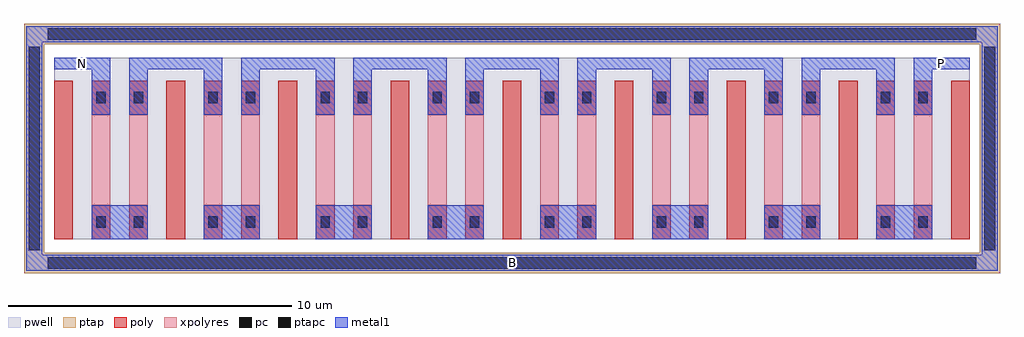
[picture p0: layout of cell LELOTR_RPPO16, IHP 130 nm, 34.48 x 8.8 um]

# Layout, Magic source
magic
tech ihp-sg13g2
magscale 1 2
<< metal1 >>
rect 16 16 6880 128
rect 128 16 6768 128
rect 16 16 6880 128
rect 128 1632 6768 1744
rect 16 1632 6880 1744
rect 16 128 128 1632
rect 16 16 128 1744
rect 6768 128 6880 1632
rect 6768 16 6880 1744
rect 16 16 6880 128
rect 6286 1440 6682 1520
rect 214 1440 610 1520
<< ptapc >>
rect 168 32 248 112
rect 248 32 328 112
rect 328 32 408 112
rect 408 32 488 112
rect 488 32 568 112
rect 568 32 648 112
rect 648 32 728 112
rect 728 32 808 112
rect 808 32 888 112
rect 888 32 968 112
rect 968 32 1048 112
rect 1048 32 1128 112
rect 1128 32 1208 112
rect 1208 32 1288 112
rect 1288 32 1368 112
rect 1368 32 1448 112
rect 1448 32 1528 112
rect 1528 32 1608 112
rect 1608 32 1688 112
rect 1688 32 1768 112
rect 1768 32 1848 112
rect 1848 32 1928 112
rect 1928 32 2008 112
rect 2008 32 2088 112
rect 2088 32 2168 112
rect 2168 32 2248 112
rect 2248 32 2328 112
rect 2328 32 2408 112
rect 2408 32 2488 112
rect 2488 32 2568 112
rect 2568 32 2648 112
rect 2648 32 2728 112
rect 2728 32 2808 112
rect 2808 32 2888 112
rect 2888 32 2968 112
rect 2968 32 3048 112
rect 3048 32 3128 112
rect 3128 32 3208 112
rect 3208 32 3288 112
rect 3288 32 3368 112
rect 3368 32 3448 112
rect 3448 32 3528 112
rect 3528 32 3608 112
rect 3608 32 3688 112
rect 3688 32 3768 112
rect 3768 32 3848 112
rect 3848 32 3928 112
rect 3928 32 4008 112
rect 4008 32 4088 112
rect 4088 32 4168 112
rect 4168 32 4248 112
rect 4248 32 4328 112
rect 4328 32 4408 112
rect 4408 32 4488 112
rect 4488 32 4568 112
rect 4568 32 4648 112
rect 4648 32 4728 112
rect 4728 32 4808 112
rect 4808 32 4888 112
rect 4888 32 4968 112
rect 4968 32 5048 112
rect 5048 32 5128 112
rect 5128 32 5208 112
rect 5208 32 5288 112
rect 5288 32 5368 112
rect 5368 32 5448 112
rect 5448 32 5528 112
rect 5528 32 5608 112
rect 5608 32 5688 112
rect 5688 32 5768 112
rect 5768 32 5848 112
rect 5848 32 5928 112
rect 5928 32 6008 112
rect 6008 32 6088 112
rect 6088 32 6168 112
rect 6168 32 6248 112
rect 6248 32 6328 112
rect 6328 32 6408 112
rect 6408 32 6488 112
rect 6488 32 6568 112
rect 6568 32 6648 112
rect 6648 32 6728 112
rect 168 1648 248 1728
rect 248 1648 328 1728
rect 328 1648 408 1728
rect 408 1648 488 1728
rect 488 1648 568 1728
rect 568 1648 648 1728
rect 648 1648 728 1728
rect 728 1648 808 1728
rect 808 1648 888 1728
rect 888 1648 968 1728
rect 968 1648 1048 1728
rect 1048 1648 1128 1728
rect 1128 1648 1208 1728
rect 1208 1648 1288 1728
rect 1288 1648 1368 1728
rect 1368 1648 1448 1728
rect 1448 1648 1528 1728
rect 1528 1648 1608 1728
rect 1608 1648 1688 1728
rect 1688 1648 1768 1728
rect 1768 1648 1848 1728
rect 1848 1648 1928 1728
rect 1928 1648 2008 1728
rect 2008 1648 2088 1728
rect 2088 1648 2168 1728
rect 2168 1648 2248 1728
rect 2248 1648 2328 1728
rect 2328 1648 2408 1728
rect 2408 1648 2488 1728
rect 2488 1648 2568 1728
rect 2568 1648 2648 1728
rect 2648 1648 2728 1728
rect 2728 1648 2808 1728
rect 2808 1648 2888 1728
rect 2888 1648 2968 1728
rect 2968 1648 3048 1728
rect 3048 1648 3128 1728
rect 3128 1648 3208 1728
rect 3208 1648 3288 1728
rect 3288 1648 3368 1728
rect 3368 1648 3448 1728
rect 3448 1648 3528 1728
rect 3528 1648 3608 1728
rect 3608 1648 3688 1728
rect 3688 1648 3768 1728
rect 3768 1648 3848 1728
rect 3848 1648 3928 1728
rect 3928 1648 4008 1728
rect 4008 1648 4088 1728
rect 4088 1648 4168 1728
rect 4168 1648 4248 1728
rect 4248 1648 4328 1728
rect 4328 1648 4408 1728
rect 4408 1648 4488 1728
rect 4488 1648 4568 1728
rect 4568 1648 4648 1728
rect 4648 1648 4728 1728
rect 4728 1648 4808 1728
rect 4808 1648 4888 1728
rect 4888 1648 4968 1728
rect 4968 1648 5048 1728
rect 5048 1648 5128 1728
rect 5128 1648 5208 1728
rect 5208 1648 5288 1728
rect 5288 1648 5368 1728
rect 5368 1648 5448 1728
rect 5448 1648 5528 1728
rect 5528 1648 5608 1728
rect 5608 1648 5688 1728
rect 5688 1648 5768 1728
rect 5768 1648 5848 1728
rect 5848 1648 5928 1728
rect 5928 1648 6008 1728
rect 6008 1648 6088 1728
rect 6088 1648 6168 1728
rect 6168 1648 6248 1728
rect 6248 1648 6328 1728
rect 6328 1648 6408 1728
rect 6408 1648 6488 1728
rect 6488 1648 6568 1728
rect 6568 1648 6648 1728
rect 6648 1648 6728 1728
rect 32 160 112 240
rect 32 240 112 320
rect 32 320 112 400
rect 32 400 112 480
rect 32 480 112 560
rect 32 560 112 640
rect 32 640 112 720
rect 32 720 112 800
rect 32 800 112 880
rect 32 880 112 960
rect 32 960 112 1040
rect 32 1040 112 1120
rect 32 1120 112 1200
rect 32 1200 112 1280
rect 32 1280 112 1360
rect 32 1360 112 1440
rect 32 1440 112 1520
rect 32 1520 112 1600
rect 6784 160 6864 240
rect 6784 240 6864 320
rect 6784 320 6864 400
rect 6784 400 6864 480
rect 6784 480 6864 560
rect 6784 560 6864 640
rect 6784 640 6864 720
rect 6784 720 6864 800
rect 6784 800 6864 880
rect 6784 880 6864 960
rect 6784 960 6864 1040
rect 6784 1040 6864 1120
rect 6784 1120 6864 1200
rect 6784 1200 6864 1280
rect 6784 1280 6864 1360
rect 6784 1360 6864 1440
rect 6784 1440 6864 1520
rect 6784 1520 6864 1600
<< ptap >>
rect 0 0 6896 144
rect 0 1616 6896 1760
rect 0 0 144 1760
rect 6752 0 6896 1760
use LELOTR_RES16 XA1 
transform 1 0 280 0 1 280
box 280 280 6616 1480
<< labels >>
flabel metal1 s 16 16 6880 128 0 FreeSans 400 0 0 0 B
port 3 nsew signal bidirectional
flabel metal1 s 6286 1440 6682 1520 0 FreeSans 400 0 0 0 P
port 1 nsew signal bidirectional
flabel metal1 s 214 1440 610 1520 0 FreeSans 400 0 0 0 N
port 2 nsew signal bidirectional
<< properties >>
string FIXED_BBOX 0 0 6896 1760
<< end >>

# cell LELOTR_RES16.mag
magic
tech ihp-sg13g2
magscale 1 2
<< poly >>
rect 198 -40 330 40
rect 462 -40 594 40
rect 990 -40 1122 40
rect 1254 -40 1386 40
rect 1782 -40 1914 40
rect 2046 -40 2178 40
rect 2574 -40 2706 40
rect 2838 -40 2970 40
rect 3366 -40 3498 40
rect 3630 -40 3762 40
rect 4158 -40 4290 40
rect 4422 -40 4554 40
rect 4950 -40 5082 40
rect 5214 -40 5346 40
rect 5742 -40 5874 40
rect 6006 -40 6138 40
rect 198 40 330 120
rect 462 40 594 120
rect 990 40 1122 120
rect 1254 40 1386 120
rect 1782 40 1914 120
rect 2046 40 2178 120
rect 2574 40 2706 120
rect 2838 40 2970 120
rect 3366 40 3498 120
rect 3630 40 3762 120
rect 4158 40 4290 120
rect 4422 40 4554 120
rect 4950 40 5082 120
rect 5214 40 5346 120
rect 5742 40 5874 120
rect 6006 40 6138 120
rect 198 120 330 200
rect 462 120 594 200
rect 990 120 1122 200
rect 1254 120 1386 200
rect 1782 120 1914 200
rect 2046 120 2178 200
rect 2574 120 2706 200
rect 2838 120 2970 200
rect 3366 120 3498 200
rect 3630 120 3762 200
rect 4158 120 4290 200
rect 4422 120 4554 200
rect 4950 120 5082 200
rect 5214 120 5346 200
rect 5742 120 5874 200
rect 6006 120 6138 200
rect 198 840 330 920
rect 462 840 594 920
rect 990 840 1122 920
rect 1254 840 1386 920
rect 1782 840 1914 920
rect 2046 840 2178 920
rect 2574 840 2706 920
rect 2838 840 2970 920
rect 3366 840 3498 920
rect 3630 840 3762 920
rect 4158 840 4290 920
rect 4422 840 4554 920
rect 4950 840 5082 920
rect 5214 840 5346 920
rect 5742 840 5874 920
rect 6006 840 6138 920
rect 198 920 330 1000
rect 462 920 594 1000
rect 990 920 1122 1000
rect 1254 920 1386 1000
rect 1782 920 1914 1000
rect 2046 920 2178 1000
rect 2574 920 2706 1000
rect 2838 920 2970 1000
rect 3366 920 3498 1000
rect 3630 920 3762 1000
rect 4158 920 4290 1000
rect 4422 920 4554 1000
rect 4950 920 5082 1000
rect 5214 920 5346 1000
rect 5742 920 5874 1000
rect 6006 920 6138 1000
rect 198 1000 330 1080
rect 462 1000 594 1080
rect 990 1000 1122 1080
rect 1254 1000 1386 1080
rect 1782 1000 1914 1080
rect 2046 1000 2178 1080
rect 2574 1000 2706 1080
rect 2838 1000 2970 1080
rect 3366 1000 3498 1080
rect 3630 1000 3762 1080
rect 4158 1000 4290 1080
rect 4422 1000 4554 1080
rect 4950 1000 5082 1080
rect 5214 1000 5346 1080
rect 5742 1000 5874 1080
rect 6006 1000 6138 1080
rect -66 -40 66 40
rect 726 -40 858 40
rect 1518 -40 1650 40
rect 2310 -40 2442 40
rect 3102 -40 3234 40
rect 3894 -40 4026 40
rect 4686 -40 4818 40
rect 5478 -40 5610 40
rect 6270 -40 6402 40
rect -66 40 66 120
rect 726 40 858 120
rect 1518 40 1650 120
rect 2310 40 2442 120
rect 3102 40 3234 120
rect 3894 40 4026 120
rect 4686 40 4818 120
rect 5478 40 5610 120
rect 6270 40 6402 120
rect -66 120 66 200
rect 726 120 858 200
rect 1518 120 1650 200
rect 2310 120 2442 200
rect 3102 120 3234 200
rect 3894 120 4026 200
rect 4686 120 4818 200
rect 5478 120 5610 200
rect 6270 120 6402 200
rect -66 200 66 280
rect 726 200 858 280
rect 1518 200 1650 280
rect 2310 200 2442 280
rect 3102 200 3234 280
rect 3894 200 4026 280
rect 4686 200 4818 280
rect 5478 200 5610 280
rect 6270 200 6402 280
rect -66 280 66 360
rect 726 280 858 360
rect 1518 280 1650 360
rect 2310 280 2442 360
rect 3102 280 3234 360
rect 3894 280 4026 360
rect 4686 280 4818 360
rect 5478 280 5610 360
rect 6270 280 6402 360
rect -66 360 66 440
rect 726 360 858 440
rect 1518 360 1650 440
rect 2310 360 2442 440
rect 3102 360 3234 440
rect 3894 360 4026 440
rect 4686 360 4818 440
rect 5478 360 5610 440
rect 6270 360 6402 440
rect -66 440 66 520
rect 726 440 858 520
rect 1518 440 1650 520
rect 2310 440 2442 520
rect 3102 440 3234 520
rect 3894 440 4026 520
rect 4686 440 4818 520
rect 5478 440 5610 520
rect 6270 440 6402 520
rect -66 520 66 600
rect 726 520 858 600
rect 1518 520 1650 600
rect 2310 520 2442 600
rect 3102 520 3234 600
rect 3894 520 4026 600
rect 4686 520 4818 600
rect 5478 520 5610 600
rect 6270 520 6402 600
rect -66 600 66 680
rect 726 600 858 680
rect 1518 600 1650 680
rect 2310 600 2442 680
rect 3102 600 3234 680
rect 3894 600 4026 680
rect 4686 600 4818 680
rect 5478 600 5610 680
rect 6270 600 6402 680
rect -66 680 66 760
rect 726 680 858 760
rect 1518 680 1650 760
rect 2310 680 2442 760
rect 3102 680 3234 760
rect 3894 680 4026 760
rect 4686 680 4818 760
rect 5478 680 5610 760
rect 6270 680 6402 760
rect -66 760 66 840
rect 726 760 858 840
rect 1518 760 1650 840
rect 2310 760 2442 840
rect 3102 760 3234 840
rect 3894 760 4026 840
rect 4686 760 4818 840
rect 5478 760 5610 840
rect 6270 760 6402 840
rect -66 840 66 920
rect 726 840 858 920
rect 1518 840 1650 920
rect 2310 840 2442 920
rect 3102 840 3234 920
rect 3894 840 4026 920
rect 4686 840 4818 920
rect 5478 840 5610 920
rect 6270 840 6402 920
rect -66 920 66 1000
rect 726 920 858 1000
rect 1518 920 1650 1000
rect 2310 920 2442 1000
rect 3102 920 3234 1000
rect 3894 920 4026 1000
rect 4686 920 4818 1000
rect 5478 920 5610 1000
rect 6270 920 6402 1000
rect -66 1000 66 1080
rect 726 1000 858 1080
rect 1518 1000 1650 1080
rect 2310 1000 2442 1080
rect 3102 1000 3234 1080
rect 3894 1000 4026 1080
rect 4686 1000 4818 1080
rect 5478 1000 5610 1080
rect 6270 1000 6402 1080
<< xpolyres >>
rect 198 200 330 280
rect 462 200 594 280
rect 990 200 1122 280
rect 1254 200 1386 280
rect 1782 200 1914 280
rect 2046 200 2178 280
rect 2574 200 2706 280
rect 2838 200 2970 280
rect 3366 200 3498 280
rect 3630 200 3762 280
rect 4158 200 4290 280
rect 4422 200 4554 280
rect 4950 200 5082 280
rect 5214 200 5346 280
rect 5742 200 5874 280
rect 6006 200 6138 280
rect 198 280 330 360
rect 462 280 594 360
rect 990 280 1122 360
rect 1254 280 1386 360
rect 1782 280 1914 360
rect 2046 280 2178 360
rect 2574 280 2706 360
rect 2838 280 2970 360
rect 3366 280 3498 360
rect 3630 280 3762 360
rect 4158 280 4290 360
rect 4422 280 4554 360
rect 4950 280 5082 360
rect 5214 280 5346 360
rect 5742 280 5874 360
rect 6006 280 6138 360
rect 198 360 330 440
rect 462 360 594 440
rect 990 360 1122 440
rect 1254 360 1386 440
rect 1782 360 1914 440
rect 2046 360 2178 440
rect 2574 360 2706 440
rect 2838 360 2970 440
rect 3366 360 3498 440
rect 3630 360 3762 440
rect 4158 360 4290 440
rect 4422 360 4554 440
rect 4950 360 5082 440
rect 5214 360 5346 440
rect 5742 360 5874 440
rect 6006 360 6138 440
rect 198 440 330 520
rect 462 440 594 520
rect 990 440 1122 520
rect 1254 440 1386 520
rect 1782 440 1914 520
rect 2046 440 2178 520
rect 2574 440 2706 520
rect 2838 440 2970 520
rect 3366 440 3498 520
rect 3630 440 3762 520
rect 4158 440 4290 520
rect 4422 440 4554 520
rect 4950 440 5082 520
rect 5214 440 5346 520
rect 5742 440 5874 520
rect 6006 440 6138 520
rect 198 520 330 600
rect 462 520 594 600
rect 990 520 1122 600
rect 1254 520 1386 600
rect 1782 520 1914 600
rect 2046 520 2178 600
rect 2574 520 2706 600
rect 2838 520 2970 600
rect 3366 520 3498 600
rect 3630 520 3762 600
rect 4158 520 4290 600
rect 4422 520 4554 600
rect 4950 520 5082 600
rect 5214 520 5346 600
rect 5742 520 5874 600
rect 6006 520 6138 600
rect 198 600 330 680
rect 462 600 594 680
rect 990 600 1122 680
rect 1254 600 1386 680
rect 1782 600 1914 680
rect 2046 600 2178 680
rect 2574 600 2706 680
rect 2838 600 2970 680
rect 3366 600 3498 680
rect 3630 600 3762 680
rect 4158 600 4290 680
rect 4422 600 4554 680
rect 4950 600 5082 680
rect 5214 600 5346 680
rect 5742 600 5874 680
rect 6006 600 6138 680
rect 198 680 330 760
rect 462 680 594 760
rect 990 680 1122 760
rect 1254 680 1386 760
rect 1782 680 1914 760
rect 2046 680 2178 760
rect 2574 680 2706 760
rect 2838 680 2970 760
rect 3366 680 3498 760
rect 3630 680 3762 760
rect 4158 680 4290 760
rect 4422 680 4554 760
rect 4950 680 5082 760
rect 5214 680 5346 760
rect 5742 680 5874 760
rect 6006 680 6138 760
rect 198 760 330 840
rect 462 760 594 840
rect 990 760 1122 840
rect 1254 760 1386 840
rect 1782 760 1914 840
rect 2046 760 2178 840
rect 2574 760 2706 840
rect 2838 760 2970 840
rect 3366 760 3498 840
rect 3630 760 3762 840
rect 4158 760 4290 840
rect 4422 760 4554 840
rect 4950 760 5082 840
rect 5214 760 5346 840
rect 5742 760 5874 840
rect 6006 760 6138 840
<< pc >>
rect 231 40 297 80
rect 231 80 297 120
rect 495 40 561 80
rect 495 80 561 120
rect 1023 40 1089 80
rect 1023 80 1089 120
rect 1287 40 1353 80
rect 1287 80 1353 120
rect 1815 40 1881 80
rect 1815 80 1881 120
rect 2079 40 2145 80
rect 2079 80 2145 120
rect 2607 40 2673 80
rect 2607 80 2673 120
rect 2871 40 2937 80
rect 2871 80 2937 120
rect 3399 40 3465 80
rect 3399 80 3465 120
rect 3663 40 3729 80
rect 3663 80 3729 120
rect 4191 40 4257 80
rect 4191 80 4257 120
rect 4455 40 4521 80
rect 4455 80 4521 120
rect 4983 40 5049 80
rect 4983 80 5049 120
rect 5247 40 5313 80
rect 5247 80 5313 120
rect 5775 40 5841 80
rect 5775 80 5841 120
rect 6039 40 6105 80
rect 6039 80 6105 120
rect 231 920 297 960
rect 231 960 297 1000
rect 495 920 561 960
rect 495 960 561 1000
rect 1023 920 1089 960
rect 1023 960 1089 1000
rect 1287 920 1353 960
rect 1287 960 1353 1000
rect 1815 920 1881 960
rect 1815 960 1881 1000
rect 2079 920 2145 960
rect 2079 960 2145 1000
rect 2607 920 2673 960
rect 2607 960 2673 1000
rect 2871 920 2937 960
rect 2871 960 2937 1000
rect 3399 920 3465 960
rect 3399 960 3465 1000
rect 3663 920 3729 960
rect 3663 960 3729 1000
rect 4191 920 4257 960
rect 4191 960 4257 1000
rect 4455 920 4521 960
rect 4455 960 4521 1000
rect 4983 920 5049 960
rect 4983 960 5049 1000
rect 5247 920 5313 960
rect 5247 960 5313 1000
rect 5775 920 5841 960
rect 5775 960 5841 1000
rect 6039 920 6105 960
rect 6039 960 6105 1000
<< metal1 >>
rect 198 -40 594 40
rect 990 -40 1386 40
rect 1782 -40 2178 40
rect 2574 -40 2970 40
rect 3366 -40 3762 40
rect 4158 -40 4554 40
rect 4950 -40 5346 40
rect 5742 -40 6138 40
rect 198 40 594 120
rect 990 40 1386 120
rect 1782 40 2178 120
rect 2574 40 2970 120
rect 3366 40 3762 120
rect 4158 40 4554 120
rect 4950 40 5346 120
rect 5742 40 6138 120
rect 198 120 594 200
rect 990 120 1386 200
rect 1782 120 2178 200
rect 2574 120 2970 200
rect 3366 120 3762 200
rect 4158 120 4554 200
rect 4950 120 5346 200
rect 5742 120 6138 200
rect 198 840 330 920
rect 462 840 594 920
rect 990 840 1122 920
rect 1254 840 1386 920
rect 1782 840 1914 920
rect 2046 840 2178 920
rect 2574 840 2706 920
rect 2838 840 2970 920
rect 3366 840 3498 920
rect 3630 840 3762 920
rect 4158 840 4290 920
rect 4422 840 4554 920
rect 4950 840 5082 920
rect 5214 840 5346 920
rect 5742 840 5874 920
rect 6006 840 6138 920
rect 198 920 330 1000
rect 462 920 594 1000
rect 990 920 1122 1000
rect 1254 920 1386 1000
rect 1782 920 1914 1000
rect 2046 920 2178 1000
rect 2574 920 2706 1000
rect 2838 920 2970 1000
rect 3366 920 3498 1000
rect 3630 920 3762 1000
rect 4158 920 4290 1000
rect 4422 920 4554 1000
rect 4950 920 5082 1000
rect 5214 920 5346 1000
rect 5742 920 5874 1000
rect 6006 920 6138 1000
rect 198 1000 330 1080
rect 462 1000 594 1080
rect 990 1000 1122 1080
rect 1254 1000 1386 1080
rect 1782 1000 1914 1080
rect 2046 1000 2178 1080
rect 2574 1000 2706 1080
rect 2838 1000 2970 1080
rect 3366 1000 3498 1080
rect 3630 1000 3762 1080
rect 4158 1000 4290 1080
rect 4422 1000 4554 1080
rect 4950 1000 5082 1080
rect 5214 1000 5346 1080
rect 5742 1000 5874 1080
rect 6006 1000 6138 1080
rect 198 1080 330 1160
rect 462 1080 594 1160
rect 990 1080 1122 1160
rect 1254 1080 1386 1160
rect 1782 1080 1914 1160
rect 2046 1080 2178 1160
rect 2574 1080 2706 1160
rect 2838 1080 2970 1160
rect 3366 1080 3498 1160
rect 3630 1080 3762 1160
rect 4158 1080 4290 1160
rect 4422 1080 4554 1160
rect 4950 1080 5082 1160
rect 5214 1080 5346 1160
rect 5742 1080 5874 1160
rect 6006 1080 6138 1160
rect -66 1160 330 1240
rect -66 1160 330 1240
rect 462 1160 1122 1240
rect 6006 1160 6402 1240
rect 1254 1160 1914 1240
rect 2046 1160 2706 1240
rect 2838 1160 3498 1240
rect 3630 1160 4290 1240
rect 4422 1160 5082 1240
rect 5214 1160 5874 1240
rect 6006 1160 6402 1240
<< pwell >>
rect -66 -40 6402 1240
<< labels >>
flabel metal1 s -66 1160 330 1240 0 FreeSans 400 0 0 0 N
port 1 nsew signal bidirectional
flabel metal1 s 6006 1160 6402 1240 0 FreeSans 400 0 0 0 P
port 2 nsew signal bidirectional
<< properties >>
string FIXED_BBOX 0 0 6336 1200
<< end >>
